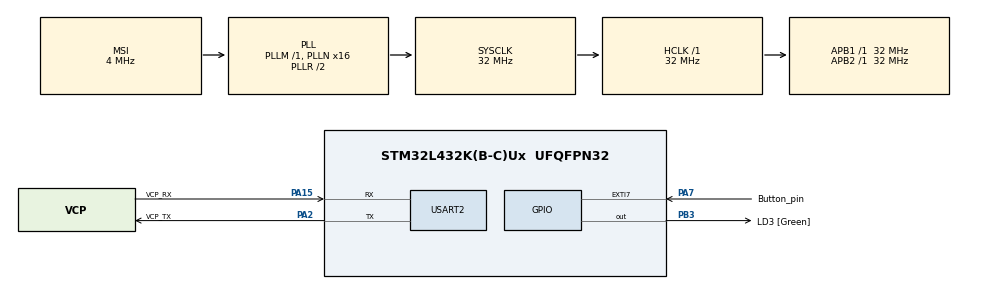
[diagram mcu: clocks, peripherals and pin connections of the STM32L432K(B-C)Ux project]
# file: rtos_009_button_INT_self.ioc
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FREERTOS.Tasks01=defaultTask,24,128,StartDefaultTask,Default,NULL,Dynamic,NULL,NULL
FREERTOS.Timers01=TimerSlow,TimerSlow_callback,osTimerPeriodic,Default,NULL,Dynamic,NULL;TimerFast,TimerFast_callback,osTimerPeriodic,Default,NULL,Dynamic,NULL
FREERTOS.configTOTAL_HEAP_SIZE=5120
FREERTOS.configUSE_NEWLIB_REENTRANT=1
Mcu.Family=STM32L4
Mcu.Name=STM32L432K(B-C)Ux
Mcu.Package=UFQFPN32
NVIC.EXTI9_5_IRQn=true\:6\:0\:true\:false\:true\:true\:true\:true\:true
NVIC.PriorityGroup=NVIC_PRIORITYGROUP_4
NVIC.TIM6_DAC_IRQn=true\:15\:0\:false\:false\:true\:false\:false\:true\:true
NVIC.TimeBase=TIM6_DAC_IRQn
NVIC.TimeBaseIP=TIM6
PA0.GPIO_Label=MCO [High speed clock in]
PA0.Mode=HSE-External-Clock-Source-for-LittleOrca
PA0.Signal=RCC_CK_IN
PA13\ (JTMS-SWDIO).GPIO_Label=SWDIO
PA13\ (JTMS-SWDIO).Mode=Serial_Wire
PA13\ (JTMS-SWDIO).Signal=SYS_JTMS-SWDIO
PA14\ (JTCK-SWCLK).GPIO_Label=SWCLK
PA14\ (JTCK-SWCLK).Mode=Serial_Wire
PA14\ (JTCK-SWCLK).Signal=SYS_JTCK-SWCLK
PA15\ (JTDI).GPIO_Label=VCP_RX
PA15\ (JTDI).Mode=Asynchronous
PA15\ (JTDI).Signal=USART2_RX
PA2.GPIO_Label=VCP_TX
PA2.Mode=Asynchronous
PA2.Signal=USART2_TX
PA7.GPIO_Label=Button_pin
PA7.GPIO_PuPd=GPIO_PULLDOWN
PA7.Signal=GPXTI7
PB3\ (JTDO-TRACESWO).GPIO_Label=LD3 [Green]
PB3\ (JTDO-TRACESWO).Signal=GPIO_Output
ProjectManager.HeapSize=0x200
ProjectManager.StackSize=0x400
ProjectManager.TargetToolchain=STM32CubeIDE
RCC.AHBFreq_Value=32000000
RCC.APB1Freq_Value=32000000
RCC.APB1TimFreq_Value=32000000
RCC.APB2Freq_Value=32000000
RCC.APB2TimFreq_Value=32000000
RCC.CortexFreq_Value=32000000
RCC.HCLKFreq_Value=32000000
RCC.HSE_VALUE=8000000
RCC.HSI16_VALUE=16000000
RCC.HSI48_VALUE=48000000
RCC.HSI_VALUE=16000000
RCC.LSE_VALUE=32768
RCC.MSI_VALUE=4000000
RCC.PLLMUL=RCC_PLLMUL_4
RCC.PLLN=16
RCC.SYSCLKFreq_VALUE=32000000
RCC.SYSCLKSource=RCC_SYSCLKSOURCE_PLLCLK
RCC.VCOOutputFreq_Value=64000000
USART2.VirtualMode-Asynchronous=VM_ASYNC
VP_FREERTOS_VS_CMSIS_V2.Mode=CMSIS_V2
VP_SYS_VS_tim6.Mode=TIM6
board=NUCLEO-L432KC

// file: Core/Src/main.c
/* USER CODE BEGIN Header */
/**
  ******************************************************************************
  * @file           : main.c
  * @brief          : Main program body
  ******************************************************************************
  * @attention
  *
  * Copyright (c) 2025 STMicroelectronics.
  * All rights reserved.
  *
  * This software is licensed under terms that can be found in the LICENSE file
  * in the root directory of this software component.
  * If no LICENSE file comes with this software, it is provided AS-IS.
  *
  ******************************************************************************
  */
/* USER CODE END Header */
#include "main.h"
#include "cmsis_os.h"

/* USER CODE BEGIN Includes */
#include"stdio.h"
/* USER CODE END Includes */

UART_HandleTypeDef huart2;

/* Definitions for defaultTask */
osThreadId_t defaultTaskHandle;
const osThreadAttr_t defaultTask_attributes = {
  .name = "defaultTask",
  .stack_size = 128 * 4,
  .priority = (osPriority_t) osPriorityNormal,
};
/* Definitions for TimerSlow */
osTimerId_t TimerSlowHandle;
const osTimerAttr_t TimerSlow_attributes = {
  .name = "TimerSlow"
};
/* Definitions for TimerFast */
osTimerId_t TimerFastHandle;
const osTimerAttr_t TimerFast_attributes = {
  .name = "TimerFast"
};
/* USER CODE BEGIN PV */
#ifdef __GNUC__
/* With GCC/RAISONANCE, small printf (option LD Linker->Libraries->Small printf
   set to 'Yes') calls __io_putchar() */
#define PUTCHAR_PROTOTYPE int __io_putchar(int ch)
#else
#define PUTCHAR_PROTOTYPE int fputc(int ch, FILE *f)
#endif /* _GNUC_ */

PUTCHAR_PROTOTYPE {
  /* Place your implementation of fputc here */
  /* e.g. write a character to the USART2 and Loop until the end of transmission */
  HAL_UART_Transmit(&huart2, (uint8_t *)&ch, 1, 0xFFFF);
  return ch;
}
/* USER CODE END PV */

void SystemClock_Config(void);
static void MX_GPIO_Init(void);
static void MX_USART2_UART_Init(void);
void StartDefaultTask(void *argument);
void TimerSlow_callback(void *argument);
void TimerFast_callback(void *argument);

/* USER CODE BEGIN PFP */

TaskHandle_t button_task_handle;
TaskHandle_t led_task_handle;
void button_taskFunc(void *);
void led_taskFunc(void*);

static uint8_t buttonCount=0;

void HAL_GPIO_EXTI_Callback(uint16_t GPIO_Pin)
{
	if(GPIO_Pin==Button_pin_Pin)
	{
		    BaseType_t xHigherPriorityTaskWoken = pdFALSE;
			xTaskNotifyFromISR(button_task_handle,0,eNoAction,&xHigherPriorityTaskWoken);
			portYIELD_FROM_ISR( xHigherPriorityTaskWoken );
	}

}
/* USER CODE END PFP */

int main(void)
{
  /* USER CODE BEGIN 1 */
	BaseType_t status;
  /* USER CODE END 1 */

  /* MCU Configuration--------------------------------------------------------*/

  /* Reset of all peripherals, Initializes the Flash interface and the Systick. */
  HAL_Init();

  /* Configure the system clock */
  SystemClock_Config();

  /* Initialize all configured peripherals */
  MX_GPIO_Init();
  MX_USART2_UART_Init();

  /* Init scheduler */
//  osKernelInitialize();

  /* Create the timer(s) */
  /* creation of TimerSlow */
  TimerSlowHandle = osTimerNew(TimerSlow_callback, osTimerPeriodic, NULL, &TimerSlow_attributes);

  /* creation of TimerFast */
  TimerFastHandle = osTimerNew(TimerFast_callback, osTimerPeriodic, NULL, &TimerFast_attributes);

  /* Create the thread(s) */
  /* creation of defaultTask */
//  defaultTaskHandle = osThreadNew(StartDefaultTask, NULL, &defaultTask_attributes);

  /* USER CODE BEGIN RTOS_THREADS */
  /* add threads, ... */
  status=xTaskCreate(button_taskFunc, "button_task",200,NULL,3,&button_task_handle);
  configASSERT(status==pdPASS);
  status=xTaskCreate(led_taskFunc,"button_task",200,NULL,2,&led_task_handle);
  configASSERT(status==pdPASS);

  printf("Task creation success \r\n");
  vTaskStartScheduler();
  /* USER CODE END RTOS_THREADS */

  /* Start scheduler */
//  osKernelStart();
  /* We should never get here as control is now taken by the scheduler */
  /* Infinite loop */
  while (1)
  {

  }
}

void SystemClock_Config(void)
{
  RCC_OscInitTypeDef RCC_OscInitStruct = {0};
  RCC_ClkInitTypeDef RCC_ClkInitStruct = {0};

  /** Configure the main internal regulator output voltage
  */
  if (HAL_PWREx_ControlVoltageScaling(PWR_REGULATOR_VOLTAGE_SCALE1) != HAL_OK)
  {
    Error_Handler();
  }

  /** Initializes the RCC Oscillators according to the specified parameters
  * in the RCC_OscInitTypeDef structure.
  */
  RCC_OscInitStruct.OscillatorType = RCC_OSCILLATORTYPE_MSI;
  RCC_OscInitStruct.MSIState = RCC_MSI_ON;
  RCC_OscInitStruct.MSICalibrationValue = 0;
  RCC_OscInitStruct.MSIClockRange = RCC_MSIRANGE_6;
  RCC_OscInitStruct.PLL.PLLState = RCC_PLL_ON;
  RCC_OscInitStruct.PLL.PLLSource = RCC_PLLSOURCE_MSI;
  RCC_OscInitStruct.PLL.PLLM = 1;
  RCC_OscInitStruct.PLL.PLLN = 16;
  RCC_OscInitStruct.PLL.PLLP = RCC_PLLP_DIV7;
  RCC_OscInitStruct.PLL.PLLQ = RCC_PLLQ_DIV2;
  RCC_OscInitStruct.PLL.PLLR = RCC_PLLR_DIV2;
  if (HAL_RCC_OscConfig(&RCC_OscInitStruct) != HAL_OK)
  {
    Error_Handler();
  }

  /** Initializes the CPU, AHB and APB buses clocks
  */
  RCC_ClkInitStruct.ClockType = RCC_CLOCKTYPE_HCLK|RCC_CLOCKTYPE_SYSCLK
                              |RCC_CLOCKTYPE_PCLK1|RCC_CLOCKTYPE_PCLK2;
  RCC_ClkInitStruct.SYSCLKSource = RCC_SYSCLKSOURCE_PLLCLK;
  RCC_ClkInitStruct.AHBCLKDivider = RCC_SYSCLK_DIV1;
  RCC_ClkInitStruct.APB1CLKDivider = RCC_HCLK_DIV1;
  RCC_ClkInitStruct.APB2CLKDivider = RCC_HCLK_DIV1;

  if (HAL_RCC_ClockConfig(&RCC_ClkInitStruct, FLASH_LATENCY_1) != HAL_OK)
  {
    Error_Handler();
  }
}

static void MX_USART2_UART_Init(void)
{

  huart2.Instance = USART2;
  huart2.Init.BaudRate = 115200;
  huart2.Init.WordLength = UART_WORDLENGTH_8B;
  huart2.Init.StopBits = UART_STOPBITS_1;
  huart2.Init.Parity = UART_PARITY_NONE;
  huart2.Init.Mode = UART_MODE_TX_RX;
  huart2.Init.HwFlowCtl = UART_HWCONTROL_NONE;
  huart2.Init.OverSampling = UART_OVERSAMPLING_16;
  huart2.Init.OneBitSampling = UART_ONE_BIT_SAMPLE_DISABLE;
  huart2.AdvancedInit.AdvFeatureInit = UART_ADVFEATURE_NO_INIT;
  if (HAL_UART_Init(&huart2) != HAL_OK)
  {
    Error_Handler();
  }

}

static void MX_GPIO_Init(void)
{
  GPIO_InitTypeDef GPIO_InitStruct = {0};

  /* GPIO Ports Clock Enable */
  __HAL_RCC_GPIOA_CLK_ENABLE();
  __HAL_RCC_GPIOB_CLK_ENABLE();

  /*Configure GPIO pin Output Level */
  HAL_GPIO_WritePin(LD3_GPIO_Port, LD3_Pin, GPIO_PIN_RESET);

  /*Configure GPIO pin : Button_pin_Pin */
  GPIO_InitStruct.Pin = Button_pin_Pin;
  GPIO_InitStruct.Mode = GPIO_MODE_IT_RISING;
  GPIO_InitStruct.Pull = GPIO_PULLDOWN;
  HAL_GPIO_Init(Button_pin_GPIO_Port, &GPIO_InitStruct);

  /*Configure GPIO pin : LD3_Pin */
  GPIO_InitStruct.Pin = LD3_Pin;
  GPIO_InitStruct.Mode = GPIO_MODE_OUTPUT_PP;
  GPIO_InitStruct.Pull = GPIO_NOPULL;
  GPIO_InitStruct.Speed = GPIO_SPEED_FREQ_LOW;
  HAL_GPIO_Init(LD3_GPIO_Port, &GPIO_InitStruct);

  /* EXTI interrupt init*/
  HAL_NVIC_SetPriority(EXTI9_5_IRQn, 6, 0);
  HAL_NVIC_EnableIRQ(EXTI9_5_IRQn);

}

/* USER CODE BEGIN 4 */
static void StopAllTimer(void)
{
	  osTimerStop(TimerSlowHandle);
	  osTimerStop(TimerFastHandle);
}

// good
/*
void button_taskFunc(void * para)
{
	while(1)
	{
		//task will wait until any notification is received
		xTaskNotifyWait(0,0,NULL,portMAX_DELAY);
		if(HAL_GPIO_ReadPin(Button_pin_GPIO_Port, Button_pin_Pin)==GPIO_PIN_SET)
		{
			  //HAL_Delay(50);// for debounce , this is blocking delay , block cpu , scheduler can not assign other tasks
			 vTaskDelay(pdMS_TO_TICKS(50));  // RTOS-friendly debounce
			if((HAL_GPIO_ReadPin(Button_pin_GPIO_Port, Button_pin_Pin)==GPIO_PIN_SET)){
				buttonCount+=1;
				printf("Button press count = %u \r\n",buttonCount);
				if(buttonCount>3)
				{
					buttonCount=0;
				}
		        while (HAL_GPIO_ReadPin(Button_pin_GPIO_Port, Button_pin_Pin) == GPIO_PIN_SET);  // wait until released to avoid multiple action on single press
			    xTaskNotify(led_task_handle,0,eNoAction);
			}
		}
	    vTaskDelay(pdMS_TO_TICKS(50));  // small delay to avoid busy looping
	}
}
*/
// better :NO  delay function. Debounce is handled via tickCount
static TickType_t lastPressTick = 0;

void button_taskFunc(void *para)
{
    TickType_t now;

    while (1)
    {
        xTaskNotifyWait(0, 0, NULL, portMAX_DELAY);

        now = xTaskGetTickCount();

        if ((now - lastPressTick) > pdMS_TO_TICKS(50))  // debounce window
        {
            if (HAL_GPIO_ReadPin(Button_pin_GPIO_Port, Button_pin_Pin) == GPIO_PIN_SET)
            {
                lastPressTick = now;

                buttonCount++;
                if (buttonCount > 3)
                    buttonCount = 0;

                printf("Button press count = %u \r\n", buttonCount);
                xTaskNotify(led_task_handle, 0, eNoAction);
            }
        }
    }
}

void led_taskFunc(void* para)
{
	while(1)
	{
		xTaskNotifyWait(0,0,NULL,portMAX_DELAY);
		if(buttonCount==1)
		{
			//stop all timer
			StopAllTimer();
			// start timer slow
			osTimerStart(TimerSlowHandle,pdMS_TO_TICKS(500));
		}
		else if(buttonCount==2)
		{
			// first stop all timer
			StopAllTimer();
			//start Timer fast
			osTimerStart(TimerFastHandle,pdMS_TO_TICKS(200));

		}
		else if(buttonCount==3)
		{
			//reset the count to 0
			buttonCount=0;
			// stop all timer
			StopAllTimer();
			HAL_GPIO_WritePin(LD3_GPIO_Port,LD3_Pin,GPIO_PIN_RESET);

		}
	}
}
/* USER CODE END 4 */

void StartDefaultTask(void *argument)
{
  for(;;)
  {
    osDelay(1);
  }
}

/* TimerSlow_callback function */
void TimerSlow_callback(void *argument)
{
  /* USER CODE BEGIN TimerSlow_callback */
   HAL_GPIO_TogglePin(LD3_GPIO_Port,LD3_Pin);
  /* USER CODE END TimerSlow_callback */
}

/* TimerFast_callback function */
void TimerFast_callback(void *argument)
{
  /* USER CODE BEGIN TimerFast_callback */
	   HAL_GPIO_TogglePin(LD3_GPIO_Port,LD3_Pin);
  /* USER CODE END TimerFast_callback */
}

void HAL_TIM_PeriodElapsedCallback(TIM_HandleTypeDef *htim)
{
  if (htim->Instance == TIM6) {
    HAL_IncTick();
  }
}

void Error_Handler(void)
{
  __disable_irq();
  while (1)
  {
  }
}
